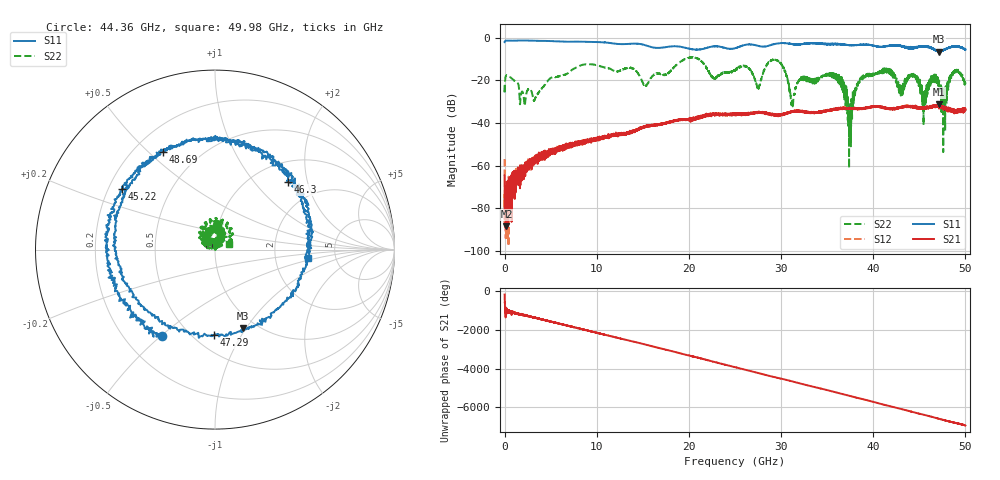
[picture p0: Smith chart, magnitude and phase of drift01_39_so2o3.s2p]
!Created with skrf (http://scikit-rf.org).
# Hz S RI R 50.0
!freq ReS11 ImS11 ReS21 ImS21 ReS12 ImS12 ReS22 ImS22
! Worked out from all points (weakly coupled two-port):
!   10001 points, 300 kHz to 50 GHz, reference 50 ohm
!   highest |S21| = -31.33 dB at 47.16 GHz (marker M1); lowest = -88.3 dB at 205.3 MHz (marker M2)
!   lowest |S11| = -6.7 dB at 47.15 GHz (marker M3), VSWR 2.74, Z = 43.2 - j48.3 ohm
!   |S11| at or under -10 dB: nowhere
!   |S22| runs from -61.1 to -9.2 dB; largest |S21 - S12| = 0.0041
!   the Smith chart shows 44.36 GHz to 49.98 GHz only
!   S11 on the Smith chart (normalised r, x): 44.36 GHz: 0.36, -0.51; 45.22 GHz: 0.25, +0.28; 46.3 GHz: 1.40, +1.52; 47.29 GHz: 0.63, -0.77; 48.69 GHz: 0.32, +0.56; 49.98 GHz: 3.11, -0.42
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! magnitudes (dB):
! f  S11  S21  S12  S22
! 300 kHz  -2.1  -64.5  -57.0  -22.4
! 205.3 MHz  -1.4  -88.3  -70.4  -17.7
! 3.285 GHz  -1.5  -56.0  -58.4  -28.8
! 8.335 GHz  -2.0  -49.4  -50.1  -12.9
! 16.67 GHz  -4.8  -40.7  -40.7  -16.7
! 25 GHz  -5.0  -36.1  -35.9  -15.3
! 29.59 GHz  -2.8  -36.4  -36.3  -10.6
! 31.24 GHz  -3.0  -34.9  -34.8  -31.5
! 33.34 GHz  -2.6  -35.2  -35.1  -19.8
! 36.08 GHz  -3.0  -33.5  -33.4  -18.6
! 37.49 GHz  -3.6  -33.3  -33.2  -31.7
! 38.65 GHz  -3.4  -33.4  -33.2  -20.0
! 41.67 GHz  -3.9  -33.2  -33.2  -15.9
! 44.36 GHz  -5.0  -32.4  -32.3  -17.1
! 45.22 GHz  -4.2  -33.0  -32.9  -22.6
! 46.3 GHz  -5.1  -32.5  -32.4  -18.9
! 47.15 GHz  -6.7  -32.2  -32.4  -20.2
! 47.16 GHz  -6.3  -31.3  -32.0  -20.5
! 47.29 GHz  -6.5  -31.8  -32.4  -22.4
! 48.69 GHz  -4.2  -35.1  -34.0  -16.1
! 49.98 GHz  -5.7  -34.0  -33.1  -21.6
! 50 GHz  -5.6  -33.8  -33.4  -21.3
